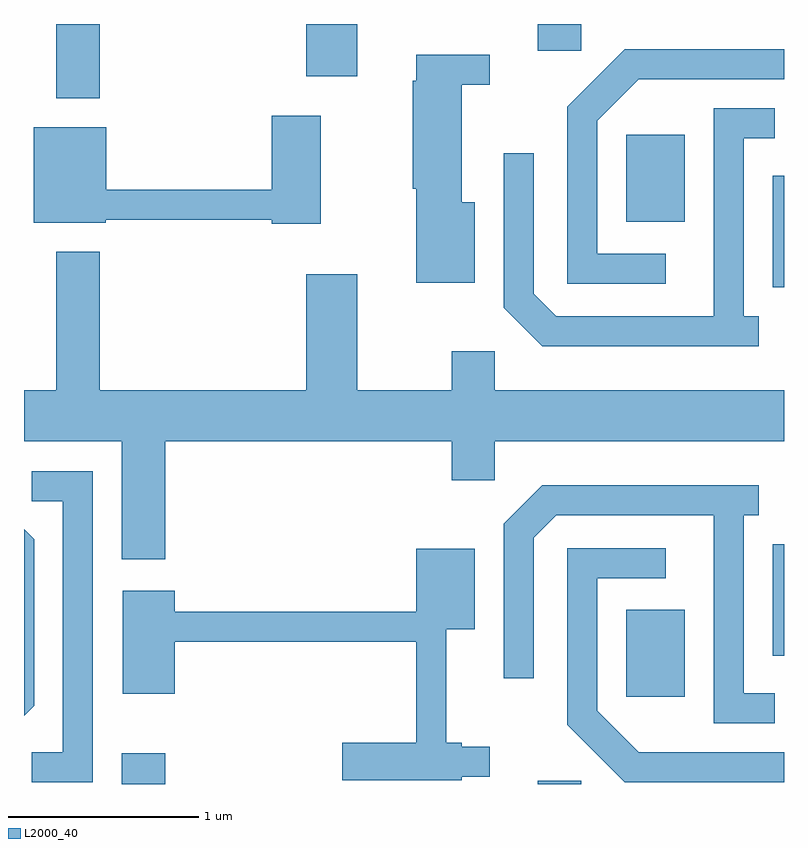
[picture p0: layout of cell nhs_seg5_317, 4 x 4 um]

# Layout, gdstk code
import gdstk
lib = gdstk.Library(unit=1e-6, precision=1e-09)
def R(c, l, rs):  # rectangles x0, y0, x1, y1
    for r in rs: c.add(gdstk.rectangle(r[:2], r[2:], *l))
def P(c, l, *ps):  # polygons
    for p in ps: c.add(gdstk.Polygon(p, *l))
L2000_40 = (2000, 40)

nhs_seg5_317 = lib.new_cell('nhs_seg5_317')
R(nhs_seg5_317, L2000_40, [(194.126,1486.072,194.354,1486.234), (196.316,1486.072,196.544,1486.089), (196.781,1486.531,197.089,1486.989), (197.551,1486.748,197.611,1487.334), (197.551,1488.686,197.611,1489.273), (196.781,1489.031,197.089,1489.489), (193.781,1489.681,194.009,1490.072), (195.096,1489.796,195.364,1490.072), (196.316,1489.931,196.544,1490.072)])
P(nhs_seg5_317, L2000_40, [(196.988,1488.864),(196.629,1488.864),(196.629,1489.564),(196.847,1489.781),(197.611,1489.781),(197.611,1489.939),(196.774,1489.939),(196.471,1489.637),(196.471,1488.706),(196.988,1488.706)],
  [(195.984,1489.134),(195.914,1489.134),(195.914,1489.751),(196.063,1489.751),(196.063,1489.909),(195.676,1489.909),(195.676,1489.774),(195.656,1489.774),(195.656,1489.206),(195.676,1489.206),(195.676,1488.711),(195.984,1488.711)],
  [(197.478,1488.534),(197.399,1488.534),(197.399,1489.471),(197.563,1489.471),(197.563,1489.629),(197.241,1489.629),(197.241,1488.534),(196.412,1488.534),(196.294,1488.652),(196.294,1489.393),(196.136,1489.393),(196.136,1488.579),(196.339,1488.376),(197.478,1488.376)],
  [(195.174,1489.589),(194.916,1489.589),(194.916,1489.199),(194.044,1489.199),(194.044,1489.529),(193.661,1489.529),(193.661,1489.026),(194.04,1489.026),(194.04,1489.041),(194.916,1489.041),(194.916,1489.021),(195.174,1489.021)],
  [(194.354,1487.876),(195.861,1487.876),(195.861,1487.671),(196.089,1487.671),(196.089,1487.876),(197.611,1487.876),(197.611,1488.144),(196.089,1488.144),(196.089,1488.349),(195.861,1488.349),(195.861,1488.144),(195.364,1488.144),(195.364,1488.754),(195.096,1488.754),(195.096,1488.144),(194.009,1488.144),(194.009,1488.874),(193.781,1488.874),(193.781,1488.144),(193.611,1488.144),(193.611,1487.876),(194.126,1487.876),(194.126,1487.256),(194.354,1487.256)],
  [(193.974,1487.719),(193.653,1487.719),(193.653,1487.561),(193.816,1487.561),(193.816,1486.239),(193.653,1486.239),(193.653,1486.081),(193.974,1486.081)],
  [(197.563,1486.549),(197.399,1486.549),(197.399,1487.486),(197.478,1487.486),(197.478,1487.644),(196.339,1487.644),(196.136,1487.442),(196.136,1486.628),(196.294,1486.628),(196.294,1487.369),(196.412,1487.486),(197.241,1487.486),(197.241,1486.391),(197.563,1486.391)],
  [(193.664,1486.484),(193.664,1487.359),(193.611,1487.412),(193.611,1486.431)],
  [(197.611,1486.239),(196.847,1486.239),(196.629,1486.457),(196.629,1487.156),(196.988,1487.156),(196.988,1487.314),(196.471,1487.314),(196.471,1486.384),(196.774,1486.081),(197.611,1486.081)],
  [(195.914,1486.111),(196.063,1486.111),(196.063,1486.269),(195.914,1486.269),(195.914,1486.289),(195.834,1486.289),(195.834,1486.886),(195.984,1486.886),(195.984,1487.309),(195.676,1487.309),(195.676,1486.979),(194.404,1486.979),(194.404,1487.089),(194.131,1487.089),(194.131,1486.546),(194.404,1486.546),(194.404,1486.821),(195.676,1486.821),(195.676,1486.289),(195.286,1486.289),(195.286,1486.091),(195.914,1486.091)])

lib.write_gds('nhs_seg5_317.gds')
